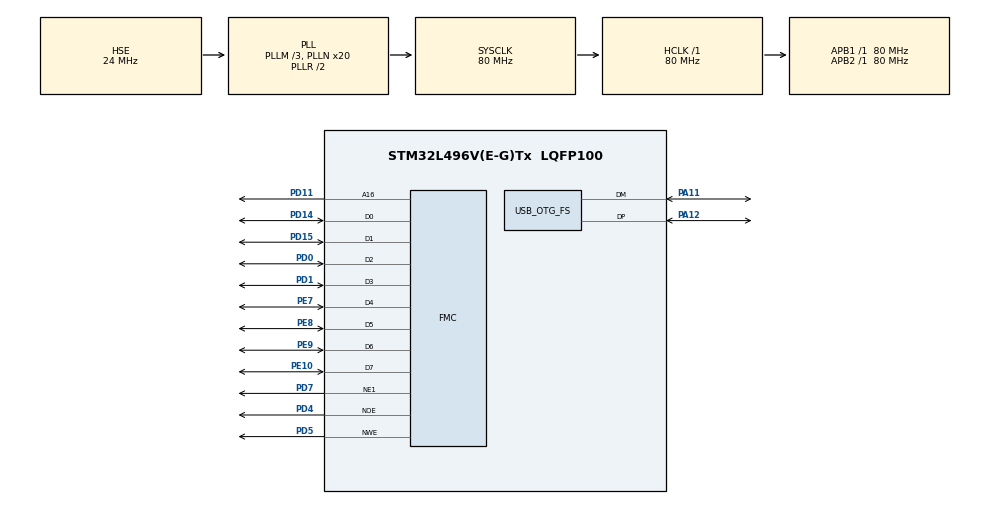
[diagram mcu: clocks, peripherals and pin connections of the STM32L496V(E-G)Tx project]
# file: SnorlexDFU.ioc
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FMC.AddressSetupTime1=0
FMC.BusTurnAroundDuration1=0
FMC.DataSetupTime1=1
Mcu.Family=STM32L4
Mcu.Name=STM32L496V(E-G)Tx
Mcu.Package=LQFP100
NVIC.OTG_FS_IRQn=true\:1\:0\:true\:false\:true\:false\:true
NVIC.PriorityGroup=NVIC_PRIORITYGROUP_4
PA11.Mode=Device_Only
PA11.Signal=USB_OTG_FS_DM
PA12.Mode=Device_Only
PA12.Signal=USB_OTG_FS_DP
PA13\ (JTMS/SWDIO).Mode=Serial_Wire
PA13\ (JTMS/SWDIO).Signal=SYS_JTMS-SWDIO
PA14\ (JTCK/SWCLK).Mode=Serial_Wire
PA14\ (JTCK/SWCLK).Signal=SYS_JTCK-SWCLK
PD0.Mode=8b-d1
PD0.Signal=FMC_D2
PD1.Mode=8b-d1
PD1.Signal=FMC_D3
PD11.Mode=A16_1
PD11.Signal=FMC_A16
PD14.Mode=8b-d1
PD14.Signal=FMC_D0
PD15.Mode=8b-d1
PD15.Signal=FMC_D1
PD4.Mode=Lcd1
PD4.Signal=FMC_NOE
PD5.Mode=Lcd1
PD5.Signal=FMC_NWE
PD7.Mode=NorPsramChipSelect1_1
PD7.Signal=FMC_NE1
PE10.Mode=8b-d1
PE10.Signal=FMC_D7
PE7.Mode=8b-d1
PE7.Signal=FMC_D4
PE8.Mode=8b-d1
PE8.Signal=FMC_D5
PE9.Mode=8b-d1
PE9.Signal=FMC_D6
PH0-OSC_IN\ (PH0).Mode=HSE-External-Oscillator
PH0-OSC_IN\ (PH0).Signal=RCC_OSC_IN
PH1-OSC_OUT\ (PH1).Mode=HSE-External-Oscillator
PH1-OSC_OUT\ (PH1).Signal=RCC_OSC_OUT
ProjectManager.HeapSize=0x2000
ProjectManager.StackSize=0x800
ProjectManager.TargetToolchain=STM32CubeIDE
RCC.ADCFreq_Value=48000000
RCC.AHBFreq_Value=80000000
RCC.APB1Freq_Value=80000000
RCC.APB1TimFreq_Value=80000000
RCC.APB2Freq_Value=80000000
RCC.APB2TimFreq_Value=80000000
RCC.CortexFreq_Value=80000000
RCC.HCLKFreq_Value=80000000
RCC.HSE_VALUE=24000000
RCC.HSI48_VALUE=48000000
RCC.HSI_VALUE=16000000
RCC.LSE_VALUE=32768
RCC.MSI_VALUE=4000000
RCC.PLLM=3
RCC.PLLN=20
RCC.PLLSAI1N=12
RCC.PLLSourceVirtual=RCC_PLLSOURCE_HSE
RCC.SYSCLKFreq_VALUE=80000000
RCC.SYSCLKSource=RCC_SYSCLKSOURCE_PLLCLK
RCC.USBFreq_Value=48000000
RCC.VCOOutputFreq_Value=160000000
USB_DEVICE.CLASS_NAME_FS=DFU
USB_DEVICE.USBD_DFU_APP_DEFAULT_ADD=0x0800C000
USB_DEVICE.USBD_DFU_MEDIA=@Internal Flash   /0x08000000/024*2Ka,232*02Kg
USB_DEVICE.VirtualMode=Dfu
USB_DEVICE.VirtualModeFS=Dfu_FS
USB_OTG_FS.VirtualMode=Device_Only
VP_USB_DEVICE_VS_USB_DEVICE_DFU_FS.Mode=DFU_FS
board=custom

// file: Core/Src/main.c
/* USER CODE BEGIN Header */
/**
  ******************************************************************************
  * @file           : main.c
  * @brief          : Main program body
  ******************************************************************************
  * @attention
  *
  * <h2><center>&copy; Copyright (c) 2020 STMicroelectronics.
  * All rights reserved.</center></h2>
  *
  * This software component is licensed by ST under BSD 3-Clause license,
  * the "License"; You may not use this file except in compliance with the
  * License. You may obtain a copy of the License at:
  *                        opensource.org/licenses/BSD-3-Clause
  *
  ******************************************************************************
  */
/* USER CODE END Header */

#include "main.h"
#include "usb_device.h"

/* USER CODE BEGIN Includes */
#include "lcd_gui.h"
#include "gpio.h"
#include "flash.h"
/* USER CODE END Includes */

SRAM_HandleTypeDef hsram1;

void SystemClock_Config(void);
//static void MX_GPIO_Init(void);
static void MX_FMC_Init(void);

/* USER CODE BEGIN 0 */
//+++
typedef void (*pFunction)(void);
pFunction JumpToApplication;
uint32_t JumpAddress;
//+++

uint32_t Crc32(const uint8_t* buf, uint32_t len);
void CheckFirmware(void);

/*
 Name  : CRC-32
 Poly  : 0x04C11DB7    x^32 + x^26 + x^23 + x^22 + x^16 + x^12 + x^11
                      + x^10 + x^8 + x^7 + x^5 + x^4 + x^2 + x + 1
 Init  : 0xFFFFFFFF
 Revert: true
 XorOut: 0xFFFFFFFF
 Check : 0xCBF43926 ("123456789")
 MaxLen: 268 435 455 bytes (2 147 483 647 bits) */
const uint32_t Crc32Table[256] = {
    0x00000000, 0x77073096, 0xEE0E612C, 0x990951BA,
    0x076DC419, 0x706AF48F, 0xE963A535, 0x9E6495A3,
    0x0EDB8832, 0x79DCB8A4, 0xE0D5E91E, 0x97D2D988,
    0x09B64C2B, 0x7EB17CBD, 0xE7B82D07, 0x90BF1D91,
    0x1DB71064, 0x6AB020F2, 0xF3B97148, 0x84BE41DE,
    0x1ADAD47D, 0x6DDDE4EB, 0xF4D4B551, 0x83D385C7,
    0x136C9856, 0x646BA8C0, 0xFD62F97A, 0x8A65C9EC,
    0x14015C4F, 0x63066CD9, 0xFA0F3D63, 0x8D080DF5,
    0x3B6E20C8, 0x4C69105E, 0xD56041E4, 0xA2677172,
    0x3C03E4D1, 0x4B04D447, 0xD20D85FD, 0xA50AB56B,
    0x35B5A8FA, 0x42B2986C, 0xDBBBC9D6, 0xACBCF940,
    0x32D86CE3, 0x45DF5C75, 0xDCD60DCF, 0xABD13D59,
    0x26D930AC, 0x51DE003A, 0xC8D75180, 0xBFD06116,
    0x21B4F4B5, 0x56B3C423, 0xCFBA9599, 0xB8BDA50F,
    0x2802B89E, 0x5F058808, 0xC60CD9B2, 0xB10BE924,
    0x2F6F7C87, 0x58684C11, 0xC1611DAB, 0xB6662D3D,
    0x76DC4190, 0x01DB7106, 0x98D220BC, 0xEFD5102A,
    0x71B18589, 0x06B6B51F, 0x9FBFE4A5, 0xE8B8D433,
    0x7807C9A2, 0x0F00F934, 0x9609A88E, 0xE10E9818,
    0x7F6A0DBB, 0x086D3D2D, 0x91646C97, 0xE6635C01,
    0x6B6B51F4, 0x1C6C6162, 0x856530D8, 0xF262004E,
    0x6C0695ED, 0x1B01A57B, 0x8208F4C1, 0xF50FC457,
    0x65B0D9C6, 0x12B7E950, 0x8BBEB8EA, 0xFCB9887C,
    0x62DD1DDF, 0x15DA2D49, 0x8CD37CF3, 0xFBD44C65,
    0x4DB26158, 0x3AB551CE, 0xA3BC0074, 0xD4BB30E2,
    0x4ADFA541, 0x3DD895D7, 0xA4D1C46D, 0xD3D6F4FB,
    0x4369E96A, 0x346ED9FC, 0xAD678846, 0xDA60B8D0,
    0x44042D73, 0x33031DE5, 0xAA0A4C5F, 0xDD0D7CC9,
    0x5005713C, 0x270241AA, 0xBE0B1010, 0xC90C2086,
    0x5768B525, 0x206F85B3, 0xB966D409, 0xCE61E49F,
    0x5EDEF90E, 0x29D9C998, 0xB0D09822, 0xC7D7A8B4,
    0x59B33D17, 0x2EB40D81, 0xB7BD5C3B, 0xC0BA6CAD,
    0xEDB88320, 0x9ABFB3B6, 0x03B6E20C, 0x74B1D29A,
    0xEAD54739, 0x9DD277AF, 0x04DB2615, 0x73DC1683,
    0xE3630B12, 0x94643B84, 0x0D6D6A3E, 0x7A6A5AA8,
    0xE40ECF0B, 0x9309FF9D, 0x0A00AE27, 0x7D079EB1,
    0xF00F9344, 0x8708A3D2, 0x1E01F268, 0x6906C2FE,
    0xF762575D, 0x806567CB, 0x196C3671, 0x6E6B06E7,
    0xFED41B76, 0x89D32BE0, 0x10DA7A5A, 0x67DD4ACC,
    0xF9B9DF6F, 0x8EBEEFF9, 0x17B7BE43, 0x60B08ED5,
    0xD6D6A3E8, 0xA1D1937E, 0x38D8C2C4, 0x4FDFF252,
    0xD1BB67F1, 0xA6BC5767, 0x3FB506DD, 0x48B2364B,
    0xD80D2BDA, 0xAF0A1B4C, 0x36034AF6, 0x41047A60,
    0xDF60EFC3, 0xA867DF55, 0x316E8EEF, 0x4669BE79,
    0xCB61B38C, 0xBC66831A, 0x256FD2A0, 0x5268E236,
    0xCC0C7795, 0xBB0B4703, 0x220216B9, 0x5505262F,
    0xC5BA3BBE, 0xB2BD0B28, 0x2BB45A92, 0x5CB36A04,
    0xC2D7FFA7, 0xB5D0CF31, 0x2CD99E8B, 0x5BDEAE1D,
    0x9B64C2B0, 0xEC63F226, 0x756AA39C, 0x026D930A,
    0x9C0906A9, 0xEB0E363F, 0x72076785, 0x05005713,
    0x95BF4A82, 0xE2B87A14, 0x7BB12BAE, 0x0CB61B38,
    0x92D28E9B, 0xE5D5BE0D, 0x7CDCEFB7, 0x0BDBDF21,
    0x86D3D2D4, 0xF1D4E242, 0x68DDB3F8, 0x1FDA836E,
    0x81BE16CD, 0xF6B9265B, 0x6FB077E1, 0x18B74777,
    0x88085AE6, 0xFF0F6A70, 0x66063BCA, 0x11010B5C,
    0x8F659EFF, 0xF862AE69, 0x616BFFD3, 0x166CCF45,
    0xA00AE278, 0xD70DD2EE, 0x4E048354, 0x3903B3C2,
    0xA7672661, 0xD06016F7, 0x4969474D, 0x3E6E77DB,
    0xAED16A4A, 0xD9D65ADC, 0x40DF0B66, 0x37D83BF0,
    0xA9BCAE53, 0xDEBB9EC5, 0x47B2CF7F, 0x30B5FFE9,
    0xBDBDF21C, 0xCABAC28A, 0x53B39330, 0x24B4A3A6,
    0xBAD03605, 0xCDD70693, 0x54DE5729, 0x23D967BF,
    0xB3667A2E, 0xC4614AB8, 0x5D681B02, 0x2A6F2B94,
    0xB40BBE37, 0xC30C8EA1, 0x5A05DF1B, 0x2D02EF8D
};

uint32_t pictureToggleTick;
uint8_t flagPictureToggle = 0;
/* USER CODE END 0 */

int main(void)
{

  /* MCU Configuration--------------------------------------------------------*/

  /* Reset of all peripherals, Initializes the Flash interface and the Systick. */
  HAL_Init();

  /* Configure the system clock */
  SystemClock_Config();

  /* USER CODE BEGIN SysInit */
  CheckFirmware();

  GPIO_Init();
  MX_FMC_Init();
  LCD_GUI_Init();
  LCD_LIGHT_ON();
  LCD_GUI_Logo();
  HAL_Delay(2000);
  LCD_GUI_MainUnitUpdating();

  /* USER CODE END SysInit */

  /* Initialize all configured peripherals */
  MX_USB_DEVICE_Init();
  HUB_POWER_ON();
  HUB_RST_SET();
  /* USER CODE BEGIN 2 */
  pictureToggleTick = uwTick + 500;
  /* USER CODE END 2 */

  /* Infinite loop */
  while (1)
  {

  	  	if((pictureToggleTick < uwTick) && (flagPictureToggle == 1))
  	  	{
  	    	pictureToggleTick += 500;
  	    	LCD_GUI_pictureToggle();
  	  	}

  }
}

void SystemClock_Config(void)
{
  RCC_OscInitTypeDef RCC_OscInitStruct = {0};
  RCC_ClkInitTypeDef RCC_ClkInitStruct = {0};
  RCC_PeriphCLKInitTypeDef PeriphClkInit = {0};

  /** Initializes the CPU, AHB and APB busses clocks
  */
  RCC_OscInitStruct.OscillatorType = RCC_OSCILLATORTYPE_HSE;
  RCC_OscInitStruct.HSEState = RCC_HSE_ON;
  RCC_OscInitStruct.PLL.PLLState = RCC_PLL_ON;
  RCC_OscInitStruct.PLL.PLLSource = RCC_PLLSOURCE_HSE;
  RCC_OscInitStruct.PLL.PLLM = 3;
  RCC_OscInitStruct.PLL.PLLN = 20;
  RCC_OscInitStruct.PLL.PLLP = RCC_PLLP_DIV2;
  RCC_OscInitStruct.PLL.PLLQ = RCC_PLLQ_DIV2;
  RCC_OscInitStruct.PLL.PLLR = RCC_PLLR_DIV2;
  if (HAL_RCC_OscConfig(&RCC_OscInitStruct) != HAL_OK)
  {
    Error_Handler();
  }
  /** Initializes the CPU, AHB and APB busses clocks
  */
  RCC_ClkInitStruct.ClockType = RCC_CLOCKTYPE_HCLK|RCC_CLOCKTYPE_SYSCLK
                              |RCC_CLOCKTYPE_PCLK1|RCC_CLOCKTYPE_PCLK2;
  RCC_ClkInitStruct.SYSCLKSource = RCC_SYSCLKSOURCE_PLLCLK;
  RCC_ClkInitStruct.AHBCLKDivider = RCC_SYSCLK_DIV1;
  RCC_ClkInitStruct.APB1CLKDivider = RCC_HCLK_DIV1;
  RCC_ClkInitStruct.APB2CLKDivider = RCC_HCLK_DIV1;

  if (HAL_RCC_ClockConfig(&RCC_ClkInitStruct, FLASH_LATENCY_4) != HAL_OK)
  {
    Error_Handler();
  }
  PeriphClkInit.PeriphClockSelection = RCC_PERIPHCLK_USB;
  PeriphClkInit.UsbClockSelection = RCC_USBCLKSOURCE_PLLSAI1;
  PeriphClkInit.PLLSAI1.PLLSAI1Source = RCC_PLLSOURCE_HSE;
  PeriphClkInit.PLLSAI1.PLLSAI1M = 3;
  PeriphClkInit.PLLSAI1.PLLSAI1N = 12;
  PeriphClkInit.PLLSAI1.PLLSAI1P = RCC_PLLP_DIV2;
  PeriphClkInit.PLLSAI1.PLLSAI1Q = RCC_PLLQ_DIV2;
  PeriphClkInit.PLLSAI1.PLLSAI1R = RCC_PLLR_DIV2;
  PeriphClkInit.PLLSAI1.PLLSAI1ClockOut = RCC_PLLSAI1_48M2CLK;
  if (HAL_RCCEx_PeriphCLKConfig(&PeriphClkInit) != HAL_OK)
  {
    Error_Handler();
  }
  /** Configure the main internal regulator output voltage
  */
  if (HAL_PWREx_ControlVoltageScaling(PWR_REGULATOR_VOLTAGE_SCALE1) != HAL_OK)
  {
    Error_Handler();
  }
}

/* FMC initialization function */
static void MX_FMC_Init(void)
{

  FMC_NORSRAM_TimingTypeDef Timing = {0};

  /** Perform the SRAM1 memory initialization sequence
  */
  hsram1.Instance = FMC_NORSRAM_DEVICE;
  hsram1.Extended = FMC_NORSRAM_EXTENDED_DEVICE;
  /* hsram1.Init */
  hsram1.Init.NSBank = FMC_NORSRAM_BANK1;
  hsram1.Init.DataAddressMux = FMC_DATA_ADDRESS_MUX_DISABLE;
  hsram1.Init.MemoryType = FMC_MEMORY_TYPE_SRAM;
  hsram1.Init.MemoryDataWidth = FMC_NORSRAM_MEM_BUS_WIDTH_8;
  hsram1.Init.BurstAccessMode = FMC_BURST_ACCESS_MODE_DISABLE;
  hsram1.Init.WaitSignalPolarity = FMC_WAIT_SIGNAL_POLARITY_LOW;
  hsram1.Init.WaitSignalActive = FMC_WAIT_TIMING_BEFORE_WS;
  hsram1.Init.WriteOperation = FMC_WRITE_OPERATION_ENABLE;
  hsram1.Init.WaitSignal = FMC_WAIT_SIGNAL_DISABLE;
  hsram1.Init.ExtendedMode = FMC_EXTENDED_MODE_DISABLE;
  hsram1.Init.AsynchronousWait = FMC_ASYNCHRONOUS_WAIT_DISABLE;
  hsram1.Init.WriteBurst = FMC_WRITE_BURST_DISABLE;
  hsram1.Init.ContinuousClock = FMC_CONTINUOUS_CLOCK_SYNC_ONLY;
  hsram1.Init.WriteFifo = FMC_WRITE_FIFO_ENABLE;
  hsram1.Init.PageSize = FMC_PAGE_SIZE_NONE;
  /* Timing */
  Timing.AddressSetupTime = 0;
  Timing.AddressHoldTime = 15;
  Timing.DataSetupTime = 1;
  Timing.BusTurnAroundDuration = 0;
  Timing.CLKDivision = 16;
  Timing.DataLatency = 17;
  Timing.AccessMode = FMC_ACCESS_MODE_A;
  /* ExtTiming */

  if (HAL_SRAM_Init(&hsram1, &Timing, NULL) != HAL_OK)
  {
    Error_Handler( );
  }

}

//static void MX_GPIO_Init(void)
//{
//
//  /* GPIO Ports Clock Enable */
//  __HAL_RCC_GPIOH_CLK_ENABLE();
//  __HAL_RCC_GPIOE_CLK_ENABLE();
//  __HAL_RCC_GPIOD_CLK_ENABLE();
//  __HAL_RCC_GPIOA_CLK_ENABLE();
//
//}

/* USER CODE BEGIN 4 */
uint32_t Crc32(const uint8_t* buf, uint32_t len)
{
	uint_least32_t crc = 0xFFFFFFFF;
	while (len--)
  crc = (crc >> 8) ^ Crc32Table[(crc ^ *buf++) & 0xFF];
	return crc ^ 0xFFFFFFFF;
}

void CheckFirmware(void)
{
  uint32_t CRC32; //0x080FF800
  uint32_t FwLength = *((uint32_t*)(FLASH_BASE + 0xFF800 + 4));
  const uint8_t* pStart = ((const uint8_t*)(FLASH_BASE + 0xE000));
  if(FwLength <= 0xF3000)
  {
    CRC32 = Crc32(pStart, FwLength);
    if(CRC32 == *((uint32_t*)(FLASH_BASE + 0xFF800)))
    {
      HAL_DeInit(); // If to use this function RCC will the same. All other peripheral will reset

      /*User code is programmed starting from address 0x0800E000 */
      /* Jump to user application */
      JumpAddress = *(__IO uint32_t*) (USBD_DFU_APP_DEFAULT_ADD + 4);
      JumpToApplication = (pFunction) JumpAddress;

//      /* Initialize user application's Stack Pointer */
      __set_MSP(*(__IO uint32_t*) USBD_DFU_APP_DEFAULT_ADD);
      JumpToApplication();
    }
  }
}
/* USER CODE END 4 */

void Error_Handler(void)
{
}

/************************ (C) COPYRIGHT STMicroelectronics *****END OF FILE****/
